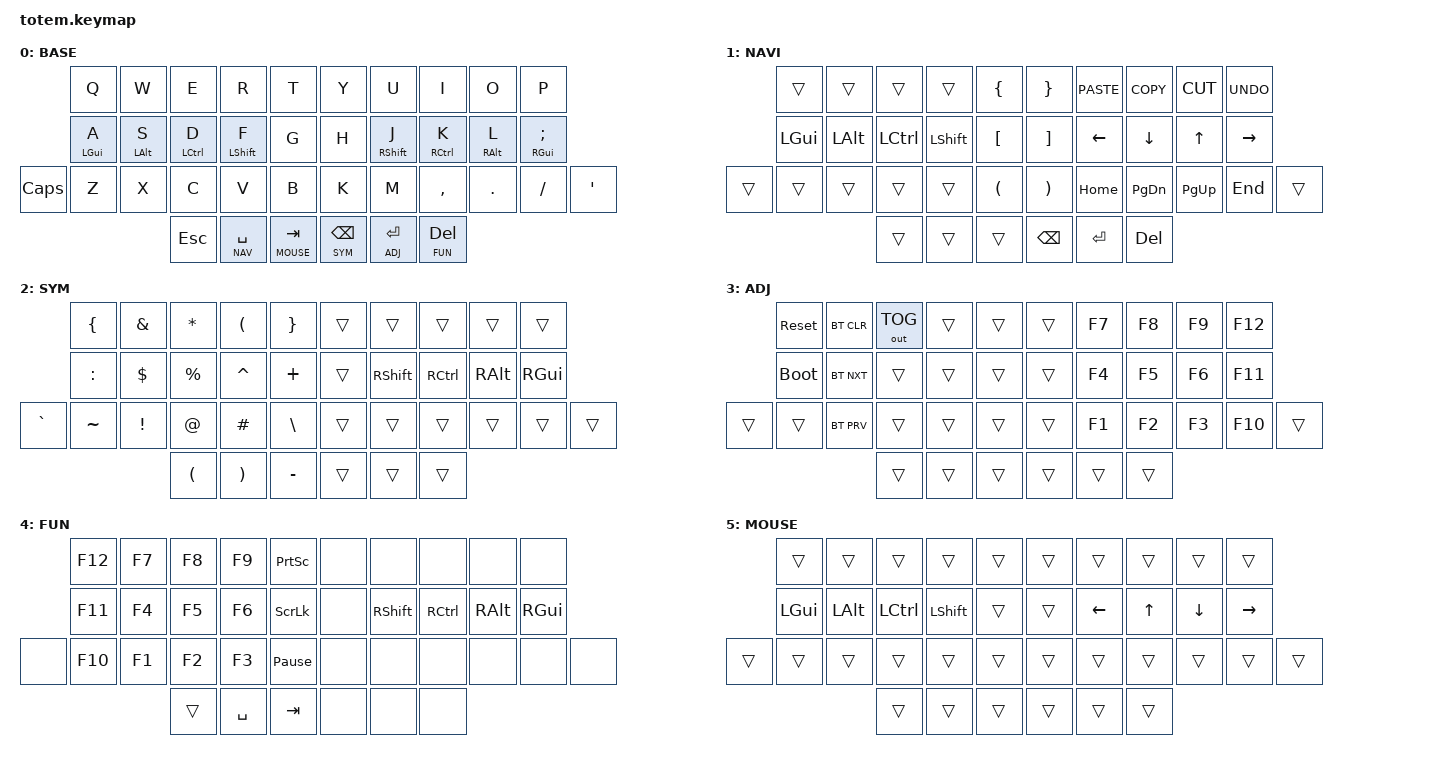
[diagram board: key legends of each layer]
//
//                                                        ▀▀▀▀▀     ▀▀▀▀▀          ▀▀█▀▀
//                                                        ▄▀▀▀▄  ▄  ▄▀▀▀▄  ▄  ▄▀▀▀▄  █  ▄▀▀▀▄
//                                                        █   █  █  █   █  █  █   █  █  █   █
//                                                         ▀▀▀   █   ▀▀▀   █   ▀▀▀   ▀   ▀▀▀
//                                                               █      ▄▄▄█▄▄▄    █   █  
//                                                               ▀      █  █  █     █▄█
//                                                             ▀▀▀▀▀    █  █  █      ▀
//                                                                      ▀  ▀  ▀
//
// ▄▄▄▄▄▄▄▄▄▄▄▄▄▄▄▄▄▄▄▄▄▄▄▄▄▄▄▄▄▄▄▄▄▄▄▄▄▄▄▄▄▄▄▄▄▄▄▄▄▄▄▄▄▄▄▄▄▄▄▄▄▄▄▄▄▄▄▄▄▄▄▄▄▄▄▄▄▄▄▄▄▄▄▄▄▄▄▄▄▄▄▄▄▄▄▄▄▄▄▄▄▄▄▄▄▄▄▄▄▄▄▄▄▄▄▄▄▄▄▄▄▄▄▄▄▄▄▄▄▄▄▄▄▄▄▄▄▄▄▄▄▄▄▄▄▄▄▄▄

#include <behaviors.dtsi>
#include <dt-bindings/zmk/bt.h>
#include <dt-bindings/zmk/keys.h>
#include <dt-bindings/zmk/outputs.h>

#define BASE 0
#define NAV  1
#define SYM  2
#define ADJ  3
#define FUN 4
#define MOUSE 5

&mt {
    quick-tap-ms = <100>;
    global-quick-tap;
    flavor = "balanced";
    tapping-term-ms = <180>;
};

/ {
    combos {
        compatible = "zmk,combos";

        //            combo_tvp {
        //                timeout-ms = <100>;
        //                key-positions = <11 12 13>;
        //                bindings = <&tog TVP1>;
        //            };
    };

    keymap {
        compatible = "zmk,keymap";

        // ▄▄▄▄▄▄▄▄▄▄▄▄▄▄▄▄▄▄▄▄▄▄▄▄▄▄▄▄▄▄▄▄▄▄▄▄▄▄▄▄▄▄▄▄▄▄▄▄▄▄▄▄▄▄▄▄▄▄▄▄▄▄▄▄▄▄▄▄▄▄▄▄▄▄▄▄▄▄▄▄▄▄▄▄▄▄▄▄▄▄▄▄▄▄▄▄▄▄▄▄▄▄▄▄▄▄▄▄▄▄▄▄▄▄▄▄▄▄▄▄▄▄▄▄▄▄▄▄▄▄▄▄▄▄▄▄▄▄▄▄▄▄▄▄▄▄▄▄▄

        base_layer {
            // ┏━━━━━━━━━━━━━━━━━━━━━━━━━━━━━━━━━━━━━━━┓

            label = "BASE";

            // ┗━━━━━━━━━━━━━━━━━━━━━━━━━━━━━━━━━━━━━━━┛
            //             ┏━━━━━━━━━━━┳━━━━━━━━━━━┳━━━━━━━━━━━┳━━━━━━━━━━━┳━━━━━━━━━━━┓   ┏━━━━━━━━━━━┳━━━━━━━━━━━┳━━━━━━━━━━━┳━━━━━━━━━━━┳━━━━━━━━━━━┓
            //             ┃     Q     ┃     W     ┃     E     ┃     R     ┃     T     ┃   ┃     Y     ┃     U     ┃     I     ┃     O     ┃     P     ┃
            //             ┣━━━━━━━━━━━╋━━━━━━━━━━━╋━━━━━━━━━━━╋━━━━━━━━━━━╋━━━━━━━━━━━┫   ┣━━━━━━━━━━━╋━━━━━━━━━━━╋━━━━━━━━━━━╋━━━━━━━━━━━╋━━━━━━━━━━━┫
            //             ┃     A     ┃     S     ┃     D     ┃     F     ┃     G     ┃   ┃     H     ┃     J     ┃     K     ┃     L     ┃     ;     ┃
            // ┏━━━━━━━━━━━╋━━━━━━━━━━━╋━━━━━━━━━━━╋━━━━━━━━━━━╋━━━━━━━━━━━╋━━━━━━━━━━━┫   ┣━━━━━━━━━━━╋━━━━━━━━━━━╋━━━━━━━━━━━╋━━━━━━━━━━━╋━━━━━━━━━━━╋━━━━━━━━━━━┓
            // ┃    CAPS   ┃     Z     ┃     X     ┃     C     ┃     V     ┃     B     ┃   ┃     N     ┃     M     ┃     ,     ┃     .     ┃     /     ┃     '     ┃
            // ┗━━━━━━━━━━━┻━━━━━━━━━━━┻━━━━━━━━━━━╋━━━━━━━━━━━╋━━━━━━━━━━━╋━━━━━━━━━━━┫   ┣━━━━━━━━━━━╋━━━━━━━━━━━╋━━━━━━━━━━━╋━━━━━━━━━━━┻━━━━━━━━━━━┻━━━━━━━━━━━┛
            //                                     ┃    ESC    ┃    SPC    ┃    TAB    ┃   ┃   BSPC    ┃  ENTER    ┃    DEL    ┃
            //                                     ┗━━━━━━━━━━━┻━━━━━━━━━━━┻━━━━━━━━━━━┛   ┗━━━━━━━━━━━┻━━━━━━━━━━━┻━━━━━━━━━━━┛

            bindings = <
          &kp Q       &kp W       &kp E        &kp R        &kp T            &kp Y         &kp U        &kp I        &kp O       &kp P
          &mt LGUI A  &mt LALT S  &mt LCTRL D  &mt LSHFT F  &kp G            &kp H         &mt RSHFT J  &mt RCTRL K  &mt RALT L  &mt RGUI SEMI
&kp CAPS  &kp Z       &kp X       &kp C        &kp V        &kp B            &kp K         &kp M        &kp COMMA    &kp DOT     &kp FSLH       &kp SQT
                                  &kp ESC      &lt NAV SPC  &lt MOUSE TAB    &lt SYM BSPC  &lt ADJ RET  &lt FUN DEL
            >;
        };

        // ▄▄▄▄▄▄▄▄▄▄▄▄▄▄▄▄▄▄▄▄▄▄▄▄▄▄▄▄▄▄▄▄▄▄▄▄▄▄▄▄▄▄▄▄▄▄▄▄▄▄▄▄▄▄▄▄▄▄▄▄▄▄▄▄▄▄▄▄▄▄▄▄▄▄▄▄▄▄▄▄▄▄▄▄▄▄▄▄▄▄▄▄▄▄▄▄▄▄▄▄▄▄▄▄▄▄▄▄▄▄▄▄▄▄▄▄▄▄▄▄▄▄▄▄▄▄▄▄▄▄▄▄▄▄▄▄▄▄▄▄▄▄▄▄▄▄▄▄▄

        nav_layer {
            // ┏━━━━━━━━━━━━━━━━━━━━━━━━━━━━━━━━━━━━━━━┓

            label = "NAVI";

            // ┗━━━━━━━━━━━━━━━━━━━━━━━━━━━━━━━━━━━━━━━┛
            //             ┏━━━━━━━━━━━┳━━━━━━━━━━━┳━━━━━━━━━━━┳━━━━━━━━━━━┳━━━━━━━━━━━┓   ┏━━━━━━━━━━━┳━━━━━━━━━━━┳━━━━━━━━━━━┳━━━━━━━━━━━┳━━━━━━━━━━━┓
            //             ┃           ┃           ┃           ┃           ┃     {     ┃   ┃     }     ┃   PASTE   ┃   COPY    ┃    CUT    ┃   UNDO    ┃
            //             ┣━━━━━━━━━━━╋━━━━━━━━━━━╋━━━━━━━━━━━╋━━━━━━━━━━━╋━━━━━━━━━━━┫   ┣━━━━━━━━━━━╋━━━━━━━━━━━╋━━━━━━━━━━━╋━━━━━━━━━━━╋━━━━━━━━━━━┫
            //             ┃   SUPER   ┃   ALT     ┃    CTRL   ┃   SHIFT   ┃     [     ┃   ┃     ]     ┃   LEFT    ┃   DOWN    ┃    UP     ┃   RIGHT   ┃
            // ┏━━━━━━━━━━━╋━━━━━━━━━━━╋━━━━━━━━━━━╋━━━━━━━━━━━╋━━━━━━━━━━━╋━━━━━━━━━━━┫   ┣━━━━━━━━━━━╋━━━━━━━━━━━╋━━━━━━━━━━━╋━━━━━━━━━━━╋━━━━━━━━━━━╋━━━━━━━━━━━┓
            // ┃           ┃           ┃           ┃           ┃           ┃     (     ┃   ┃     )     ┃   HOME    ┃  P DOWN   ┃   P UP    ┃    END    ┃           ┃
            // ┗━━━━━━━━━━━┻━━━━━━━━━━━┻━━━━━━━━━━━╋━━━━━━━━━━━╋━━━━━━━━━━━╋━━━━━━━━━━━┫   ┣━━━━━━━━━━━╋━━━━━━━━━━━╋━━━━━━━━━━━╋━━━━━━━━━━━┻━━━━━━━━━━━┻━━━━━━━━━━━┛
            //                                     ┃           ┃           ┃           ┃   ┃   BSPC    ┃   ENTER   ┃    DEL    ┃
            //                                     ┗━━━━━━━━━━━┻━━━━━━━━━━━┻━━━━━━━━━━━┛   ┗━━━━━━━━━━━┻━━━━━━━━━━━┻━━━━━━━━━━━┛

            bindings = <
        &trans    &trans    &trans     &trans     &kp LBRC    &kp RBRC  &kp K_PASTE  &kp K_COPY  &kp K_CUT  &kp K_UNDO
        &kp LGUI  &kp LALT  &kp LCTRL  &kp LSHFT  &kp LBKT    &kp RBKT  &kp LEFT     &kp DOWN    &kp UP     &kp RIGHT
&trans  &trans    &trans    &trans     &trans     &kp LPAR    &kp RPAR  &kp HOME     &kp PG_DN   &kp PG_UP  &kp END     &trans
                            &trans     &trans     &trans      &kp BSPC  &kp RET      &kp DEL
            >;
        };

        // ▄▄▄▄▄▄▄▄▄▄▄▄▄▄▄▄▄▄▄▄▄▄▄▄▄▄▄▄▄▄▄▄▄▄▄▄▄▄▄▄▄▄▄▄▄▄▄▄▄▄▄▄▄▄▄▄▄▄▄▄▄▄▄▄▄▄▄▄▄▄▄▄▄▄▄▄▄▄▄▄▄▄▄▄▄▄▄▄▄▄▄▄▄▄▄▄▄▄▄▄▄▄▄▄▄▄▄▄▄▄▄▄▄▄▄▄▄▄▄▄▄▄▄▄▄▄▄▄▄▄▄▄▄▄▄▄▄▄▄▄▄▄▄▄▄▄▄▄▄

        sim_layer {
            // ┏━━━━━━━━━━━━━━━━━━━━━━━━━━━━━━━━━━━━━━━┓

            label = "SYM";

            // ┗━━━━━━━━━━━━━━━━━━━━━━━━━━━━━━━━━━━━━━━┛
            //             ┏━━━━━━━━━━━┳━━━━━━━━━━━┳━━━━━━━━━━━┳━━━━━━━━━━━┳━━━━━━━━━━━┓   ┏━━━━━━━━━━━┳━━━━━━━━━━━┳━━━━━━━━━━━┳━━━━━━━━━━━┳━━━━━━━━━━━┓
            //             ┃     {     ┃     &     ┃     *     ┃     (     ┃     }     ┃   ┃           ┃           ┃           ┃           ┃           ┃
            //             ┣━━━━━━━━━━━╋━━━━━━━━━━━╋━━━━━━━━━━━╋━━━━━━━━━━━╋━━━━━━━━━━━┫   ┣━━━━━━━━━━━╋━━━━━━━━━━━╋━━━━━━━━━━━╋━━━━━━━━━━━╋━━━━━━━━━━━┫
            //             ┃     :     ┃     $     ┃     %     ┃     ^     ┃     +     ┃   ┃           ┃   SHIFT   ┃   CTRL    ┃   ALT     ┃  SUPER    ┃
            // ┏━━━━━━━━━━━╋━━━━━━━━━━━╋━━━━━━━━━━━╋━━━━━━━━━━━╋━━━━━━━━━━━╋━━━━━━━━━━━┫   ┣━━━━━━━━━━━╋━━━━━━━━━━━╋━━━━━━━━━━━╋━━━━━━━━━━━╋━━━━━━━━━━━╋━━━━━━━━━━━┓
            // ┃           ┃     ~     ┃     !     ┃     @     ┃     #     ┃     \     ┃   ┃           ┃           ┃           ┃           ┃           ┃           ┃
            // ┗━━━━━━━━━━━┻━━━━━━━━━━━┻━━━━━━━━━━━╋━━━━━━━━━━━╋━━━━━━━━━━━╋━━━━━━━━━━━┫   ┣━━━━━━━━━━━╋━━━━━━━━━━━╋━━━━━━━━━━━╋━━━━━━━━━━━┻━━━━━━━━━━━┻━━━━━━━━━━━┛
            //                                     ┃     (     ┃     )     ┃     -     ┃   ┃           ┃           ┃           ┃
            //                                     ┗━━━━━━━━━━━┻━━━━━━━━━━━┻━━━━━━━━━━━┛   ┗━━━━━━━━━━━┻━━━━━━━━━━━┻━━━━━━━━━━━┛

            bindings = <
           &kp LBRC   &kp AMPS    &kp ASTRK  &kp LPAR   &kp RBRC     &trans  &trans     &trans     &trans    &trans
           &kp COLON  &kp DOLLAR  &kp PRCNT  &kp CARET  &kp PLUS     &trans  &kp RSHFT  &kp RCTRL  &kp RALT  &kp RGUI
&kp GRAVE  &kp TILDE  &kp EXCL    &kp AT     &kp HASH   &kp BSLH     &trans  &trans     &trans     &trans    &trans    &trans
                                  &kp LPAR   &kp RPAR   &kp MINUS    &trans  &trans     &trans
            >;
        };

        // ▄▄▄▄▄▄▄▄▄▄▄▄▄▄▄▄▄▄▄▄▄▄▄▄▄▄▄▄▄▄▄▄▄▄▄▄▄▄▄▄▄▄▄▄▄▄▄▄▄▄▄▄▄▄▄▄▄▄▄▄▄▄▄▄▄▄▄▄▄▄▄▄▄▄▄▄▄▄▄▄▄▄▄▄▄▄▄▄▄▄▄▄▄▄▄▄▄▄▄▄▄▄▄▄▄▄▄▄▄▄▄▄▄▄▄▄▄▄▄▄▄▄▄▄▄▄▄▄▄▄▄▄▄▄▄▄▄▄▄▄▄▄▄▄▄▄▄▄▄

        adjust_layer {
            // ┏━━━━━━━━━━━━━━━━━━━━━━━━━━━━━━━━━━━━━━━┓

            label = "ADJ";

            // ┗━━━━━━━━━━━━━━━━━━━━━━━━━━━━━━━━━━━━━━━┛
            //             ┏━━━━━━━━━━━┳━━━━━━━━━━━┳━━━━━━━━━━━┳━━━━━━━━━━━┳━━━━━━━━━━━┓   ┏━━━━━━━━━━━┳━━━━━━━━━━━┳━━━━━━━━━━━┳━━━━━━━━━━━┳━━━━━━━━━━━┓
            //             ┃   RESET   ┃ BT CLEAR  ┃  OUT TOG  ┃           ┃           ┃   ┃           ┃    F7     ┃    F8     ┃    F9     ┃    F12    ┃
            //             ┣━━━━━━━━━━━╋━━━━━━━━━━━╋━━━━━━━━━━━╋━━━━━━━━━━━╋━━━━━━━━━━━┫   ┣━━━━━━━━━━━╋━━━━━━━━━━━╋━━━━━━━━━━━╋━━━━━━━━━━━╋━━━━━━━━━━━┫
            //             ┃ BOOTLOAD  ┃ BT NEXT   ┃           ┃           ┃           ┃   ┃           ┃    F4     ┃    F5     ┃    F6     ┃    F11    ┃
            // ┏━━━━━━━━━━━╋━━━━━━━━━━━╋━━━━━━━━━━━╋━━━━━━━━━━━╋━━━━━━━━━━━╋━━━━━━━━━━━┫   ┣━━━━━━━━━━━╋━━━━━━━━━━━╋━━━━━━━━━━━╋━━━━━━━━━━━╋━━━━━━━━━━━╋━━━━━━━━━━━┓
            // ┃           ┃           ┃ BT PREV   ┃           ┃           ┃           ┃   ┃           ┃    F1     ┃    F2     ┃    F3     ┃    F10    ┃           ┃
            // ┗━━━━━━━━━━━┻━━━━━━━━━━━┻━━━━━━━━━━━╋━━━━━━━━━━━╋━━━━━━━━━━━╋━━━━━━━━━━━┫   ┣━━━━━━━━━━━╋━━━━━━━━━━━╋━━━━━━━━━━━╋━━━━━━━━━━━┻━━━━━━━━━━━┻━━━━━━━━━━━┛
            //                                     ┃           ┃           ┃           ┃   ┃           ┃           ┃           ┃
            //                                     ┗━━━━━━━━━━━┻━━━━━━━━━━━┻━━━━━━━━━━━┛   ┗━━━━━━━━━━━┻━━━━━━━━━━━┻━━━━━━━━━━━┛

            bindings = <
        &sys_reset   &bt BT_CLR  &out OUT_TOG  &trans  &trans    &trans  &kp F7  &kp F8  &kp F9  &kp F12
        &bootloader  &bt BT_NXT  &trans        &trans  &trans    &trans  &kp F4  &kp F5  &kp F6  &kp F11
&trans  &trans       &bt BT_PRV  &trans        &trans  &trans    &trans  &kp F1  &kp F2  &kp F3  &kp F10  &trans
                                 &trans        &trans  &trans    &trans  &trans  &trans
            >;
        };

        // ▄▄▄▄▄▄▄▄▄▄▄▄▄▄▄▄▄▄▄▄▄▄▄▄▄▄▄▄▄▄▄▄▄▄▄▄▄▄▄▄▄▄▄▄▄▄▄▄▄▄▄▄▄▄▄▄▄▄▄▄▄▄▄▄▄▄▄▄▄▄▄▄▄▄▄▄▄▄▄▄▄▄▄▄▄▄▄▄▄▄▄▄▄▄▄▄▄▄▄▄▄▄▄▄▄▄▄▄▄▄▄▄▄▄▄▄▄▄▄▄▄▄▄▄▄▄▄▄▄▄▄▄▄▄▄▄▄▄▄▄▄▄▄▄▄▄▄▄▄

        tvp1_layer {
            // ┏━━━━━━━━━━━━━━━━━━━━━━━━━━━━━━━━━━━━━━━┓

            label = "FUN";

            // ┗━━━━━━━━━━━━━━━━━━━━━━━━━━━━━━━━━━━━━━━┛
            //             ┏━━━━━━━━━━━┳━━━━━━━━━━━┳━━━━━━━━━━━┳━━━━━━━━━━━┳━━━━━━━━━━━┓   ┏━━━━━━━━━━━┳━━━━━━━━━━━┳━━━━━━━━━━━┳━━━━━━━━━━━┳━━━━━━━━━━━┓
            //             ┃ F12       ┃   F7      ┃   F8      ┃   F9      ┃   PSCRN   ┃   ┃           ┃           ┃           ┃           ┃           ┃
            //             ┣━━━━━━━━━━━╋━━━━━━━━━━━╋━━━━━━━━━━━╋━━━━━━━━━━━╋━━━━━━━━━━━┫   ┣━━━━━━━━━━━╋━━━━━━━━━━━╋━━━━━━━━━━━╋━━━━━━━━━━━╋━━━━━━━━━━━┫
            //             ┃ F11       ┃   F4      ┃   F5      ┃   F6      ┃   SLCK    ┃   ┃           ┃  SHIFT    ┃   CTRL    ┃    ALT    ┃  SUPER    ┃
            // ┏━━━━━━━━━━━╋━━━━━━━━━━━╋━━━━━━━━━━━╋━━━━━━━━━━━╋━━━━━━━━━━━╋━━━━━━━━━━━┫   ┣━━━━━━━━━━━╋━━━━━━━━━━━╋━━━━━━━━━━━╋━━━━━━━━━━━╋━━━━━━━━━━━╋━━━━━━━━━━━┓
            // ┃           ┃ F10       ┃   F1      ┃   F2      ┃   F3      ┃   PAUSE   ┃   ┃           ┃           ┃           ┃           ┃           ┃           ┃
            // ┗━━━━━━━━━━━┻━━━━━━━━━━━┻━━━━━━━━━━━╋━━━━━━━━━━━╋━━━━━━━━━━━╋━━━━━━━━━━━┫   ┣━━━━━━━━━━━╋━━━━━━━━━━━╋━━━━━━━━━━━╋━━━━━━━━━━━┻━━━━━━━━━━━┻━━━━━━━━━━━┛
            //                                     ┃    APP    ┃   SPC     ┃    TAB    ┃   ┃           ┃           ┃           ┃
            //                                     ┗━━━━━━━━━━━┻━━━━━━━━━━━┻━━━━━━━━━━━┛   ┗━━━━━━━━━━━┻━━━━━━━━━━━┻━━━━━━━━━━━┛

            bindings = <
       &kp F12  &kp F7  &kp F8  &kp F9   &kp PSCRN          &none  &none      &none      &none     &none
       &kp F11  &kp F4  &kp F5  &kp F6   &kp SLCK           &none  &kp RSHFT  &kp RCTRL  &kp RALT  &kp RGUI
&none  &kp F10  &kp F1  &kp F2  &kp F3   &kp PAUSE_BREAK    &none  &none      &none      &none     &none     &none
                        &trans  &kp SPC  &kp TAB            &none  &none      &none
            >;
        };

        // ▄▄▄▄▄▄▄▄▄▄▄▄▄▄▄▄▄▄▄▄▄▄▄▄▄▄▄▄▄▄▄▄▄▄▄▄▄▄▄▄▄▄▄▄▄▄▄▄▄▄▄▄▄▄▄▄▄▄▄▄▄▄▄▄▄▄▄▄▄▄▄▄▄▄▄▄▄▄▄▄▄▄▄▄▄▄▄▄▄▄▄▄▄▄▄▄▄▄▄▄▄▄▄▄▄▄▄▄▄▄▄▄▄▄▄▄▄▄▄▄▄▄▄▄▄▄▄▄▄▄▄▄▄▄▄▄▄▄▄▄▄▄▄▄▄▄▄▄▄

        tvp2_layer {
            // ┏━━━━━━━━━━━━━━━━━━━━━━━━━━━━━━━━━━━━━━━┓

            label = "MOUSE";

            // ┗━━━━━━━━━━━━━━━━━━━━━━━━━━━━━━━━━━━━━━━┛
            //             ┏━━━━━━━━━━━┳━━━━━━━━━━━┳━━━━━━━━━━━┳━━━━━━━━━━━┳━━━━━━━━━━━┓   ┏━━━━━━━━━━━┳━━━━━━━━━━━┳━━━━━━━━━━━┳━━━━━━━━━━━┳━━━━━━━━━━━┓
            //             ┃           ┃           ┃           ┃           ┃           ┃   ┃           ┃           ┃           ┃           ┃           ┃
            //             ┣━━━━━━━━━━━╋━━━━━━━━━━━╋━━━━━━━━━━━╋━━━━━━━━━━━╋━━━━━━━━━━━┫   ┣━━━━━━━━━━━╋━━━━━━━━━━━╋━━━━━━━━━━━╋━━━━━━━━━━━╋━━━━━━━━━━━┫
            //             ┃ SUPER     ┃ ALT       ┃ CTRL      ┃ SHIFT     ┃           ┃   ┃           ┃ MOVE_LEFT ┃ MOVE_UP   ┃ MOVE_DOWN ┃ MOVE_RIGHT┃
            // ┏━━━━━━━━━━━╋━━━━━━━━━━━╋━━━━━━━━━━━╋━━━━━━━━━━━╋━━━━━━━━━━━╋━━━━━━━━━━━┫   ┣━━━━━━━━━━━╋━━━━━━━━━━━╋━━━━━━━━━━━╋━━━━━━━━━━━╋━━━━━━━━━━━╋━━━━━━━━━━━┓
            // ┃           ┃           ┃           ┃           ┃           ┃           ┃   ┃           ┃ SCRL_LEFT ┃ SCRL_UP   ┃ SCRL_DOWN ┃ SCRL_RIGHT┃           ┃
            // ┗━━━━━━━━━━━┻━━━━━━━━━━━┻━━━━━━━━━━━╋━━━━━━━━━━━╋━━━━━━━━━━━╋━━━━━━━━━━━┫   ┣━━━━━━━━━━━╋━━━━━━━━━━━╋━━━━━━━━━━━╋━━━━━━━━━━━┻━━━━━━━━━━━┻━━━━━━━━━━━┛
            //                                     ┃           ┃           ┃           ┃   ┃    MB2    ┃    MB1    ┃    MB3    ┃
            //                                     ┗━━━━━━━━━━━┻━━━━━━━━━━━┻━━━━━━━━━━━┛   ┗━━━━━━━━━━━┻━━━━━━━━━━━┻━━━━━━━━━━━┛

            bindings = <
        &trans    &trans    &trans     &trans     &trans    &trans  &trans    &trans  &trans    &trans
        &kp LGUI  &kp LALT  &kp LCTRL  &kp LSHFT  &trans    &trans  &kp LEFT  &kp UP  &kp DOWN  &kp RIGHT
&trans  &trans    &trans    &trans     &trans     &trans    &trans  &trans    &trans  &trans    &trans     &trans
                            &trans     &trans     &trans    &trans  &trans    &trans
            >;
        };
    };
};
